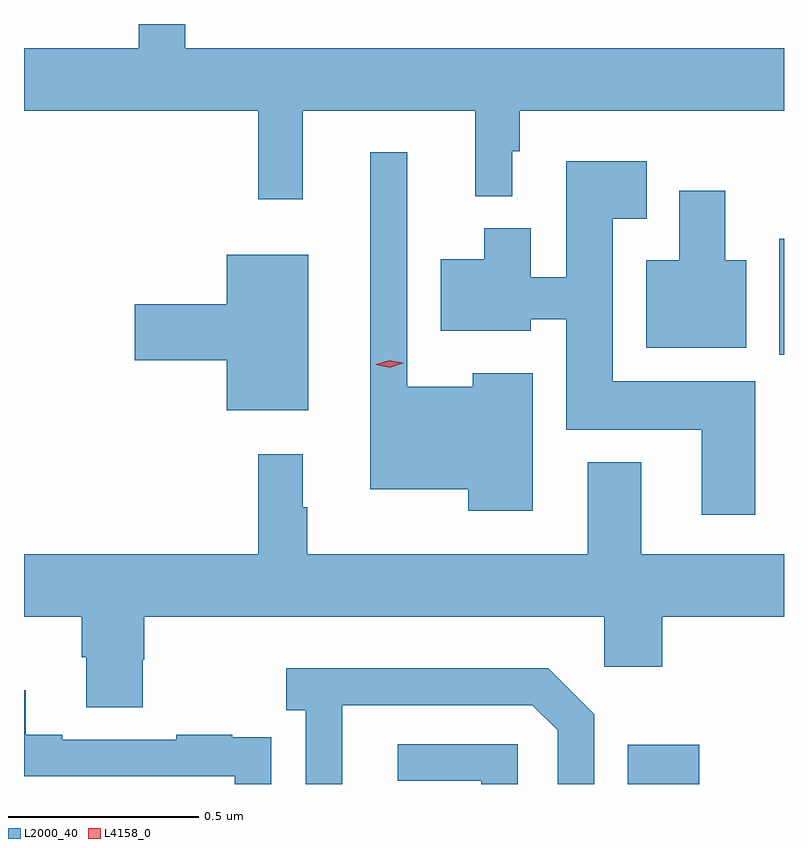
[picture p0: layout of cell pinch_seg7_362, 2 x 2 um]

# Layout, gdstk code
import gdstk
lib = gdstk.Library(unit=1e-6, precision=1e-09)
def R(c, l, rs):  # rectangles x0, y0, x1, y1
    for r in rs: c.add(gdstk.rectangle(r[:2], r[2:], *l))
def P(c, l, *ps):  # polygons
    for p in ps: c.add(gdstk.Polygon(p, *l))
L2000_40 = (2000, 40)
L4158_0 = (4158, 0)

pinch_seg7_362 = lib.new_cell('pinch_seg7_362')
R(pinch_seg7_362, L2000_40, [(423.266,1004.172,423.454,1004.275), (423.665,1005.302,423.677,1005.607)])
P(pinch_seg7_362, L2000_40, [(422.411,1005.944),(422.864,1005.944),(422.864,1005.719),(422.962,1005.719),(422.962,1005.837),(422.981,1005.837),(422.981,1005.944),(423.677,1005.944),(423.677,1006.108),(422.101,1006.108),(422.101,1006.172),(421.979,1006.172),(421.979,1006.108),(421.677,1006.108),(421.677,1005.944),(422.293,1005.944),(422.293,1005.711),(422.411,1005.711)],
  [(423.016,1005.253),(422.858,1005.253),(422.858,1005.217),(422.685,1005.217),(422.685,1005.835),(422.588,1005.835),(422.588,1004.948),(422.846,1004.948),(422.846,1004.891),(423.016,1004.891)],
  [(423.601,1005.232),(423.226,1005.232),(423.226,1005.659),(423.316,1005.659),(423.316,1005.811),(423.104,1005.811),(423.104,1005.505),(423.01,1005.505),(423.01,1005.634),(422.888,1005.634),(422.888,1005.553),(422.774,1005.553),(422.774,1005.365),(423.01,1005.365),(423.01,1005.395),(423.104,1005.395),(423.104,1005.104),(423.461,1005.104),(423.461,1004.88),(423.601,1004.88)],
  [(423.577,1005.55),(423.523,1005.55),(423.523,1005.733),(423.401,1005.733),(423.401,1005.55),(423.314,1005.55),(423.314,1005.32),(423.577,1005.32)],
  [(422.425,1005.565),(422.21,1005.565),(422.21,1005.434),(421.968,1005.434),(421.968,1005.287),(422.21,1005.287),(422.21,1005.155),(422.425,1005.155)],
  [(423.161,1005.019),(423.161,1004.776),(422.422,1004.776),(422.422,1004.9),(422.41,1004.9),(422.41,1005.04),(422.293,1005.04),(422.293,1004.776),(421.677,1004.776),(421.677,1004.612),(421.829,1004.612),(421.829,1004.506),(421.841,1004.506),(421.841,1004.374),(421.989,1004.374),(421.989,1004.499),(421.994,1004.499),(421.994,1004.612),(423.204,1004.612),(423.204,1004.481),(423.356,1004.481),(423.356,1004.612),(423.677,1004.612),(423.677,1004.776),(423.301,1004.776),(423.301,1005.019)],
  [(422.514,1004.179),(422.515,1004.179),(422.515,1004.379),(423.015,1004.379),(423.081,1004.313),(423.081,1004.172),(423.177,1004.172),(423.177,1004.355),(423.056,1004.476),(422.367,1004.476),(422.367,1004.366),(422.418,1004.366),(422.418,1004.172),(422.514,1004.172)],
  [(422.328,1004.186),(422.327,1004.186),(422.327,1004.295),(422.225,1004.295),(422.225,1004.302),(422.077,1004.302),(422.077,1004.289),(421.777,1004.289),(421.777,1004.302),(421.681,1004.302),(421.681,1004.419),(421.677,1004.419),(421.677,1004.193),(422.232,1004.193),(422.232,1004.172),(422.328,1004.172)],
  [(422.976,1004.277),(422.661,1004.277),(422.661,1004.181),(422.88,1004.181),(422.88,1004.172),(422.976,1004.172)])
P(pinch_seg7_362, L4158_0, [(422.64,1005.267),(422.604,1005.275),(422.603,1005.275),(422.604,1005.276),(422.638,1005.287),(422.674,1005.28),(422.675,1005.279),(422.674,1005.279)])

lib.write_gds('pinch_seg7_362.gds')
